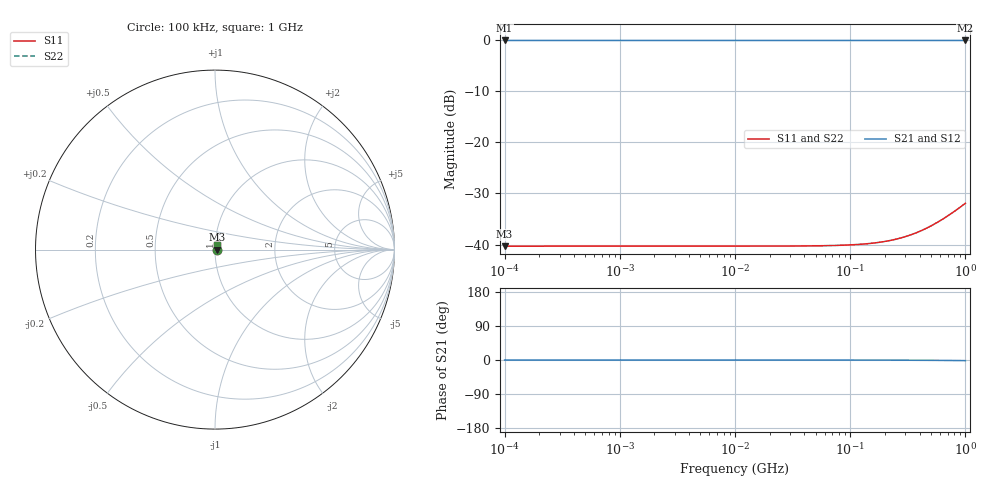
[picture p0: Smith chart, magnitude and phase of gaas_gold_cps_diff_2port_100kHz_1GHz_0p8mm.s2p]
# Hz S RI R 100
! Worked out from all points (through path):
!   10000 points, 100 kHz to 1 GHz, reference 100 ohm
!   highest |S21| = -0.08 dB at 100 kHz (marker M1); lowest = -0.1 dB at 1 GHz (marker M2)
!   lowest |S11| = -40.3 dB at 100 kHz (marker M3), VSWR 1.02, Z = 102 + j0.000473 ohm
!   |S11| at or under -10 dB: start of sweep to end of sweep
!   |S22| runs from -40.3 to -31.9 dB; largest |S21 - S12| = 4.4e-16
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100000  0.00966 2.32e-06  0.9903 -2.85e-06  0.9903 -2.85e-06  0.00966 2.32e-06
464372.7  0.00966 1.08e-05  0.9903 -1.32e-05  0.9903 -1.32e-05  0.00966 1.08e-05
2156420  0.00966 5e-05  0.9903 -6.15e-05  0.9903 -6.15e-05  0.00966 5e-05
1.000461e7  0.00966 0.000232  0.9903 -0.000285  0.9903 -0.000285  0.00966 0.000232
2.586076e7  0.00966 0.000599  0.9903 -0.000738  0.9903 -0.000738  0.00966 0.000599
4.645866e7  0.00966 0.00108  0.9903 -0.00132  0.9903 -0.00132  0.00966 0.00108
7.861213e7  0.00967 0.00182  0.9903 -0.00224  0.9903 -0.00224  0.00967 0.00182
9.707306e7  0.00967 0.00225  0.9903 -0.00277  0.9903 -0.00277  0.00967 0.00225
1.170326e8  0.00967 0.00271  0.9903 -0.00334  0.9903 -0.00334  0.00967 0.00271
1.389038e8  0.00967 0.00322  0.9903 -0.00396  0.9903 -0.00396  0.00967 0.00322
1.624505e8  0.00968 0.00377  0.9903 -0.00463  0.9903 -0.00463  0.00968 0.00377
1.879003e8  0.00969 0.00435  0.9903 -0.00536  0.9903 -0.00536  0.00969 0.00435
2.155427e8  0.00969 0.005  0.9903 -0.00615  0.9903 -0.00615  0.00969 0.005
2.620245e8  0.00971 0.00607  0.9903 -0.00747  0.9903 -0.00747  0.00971 0.00607
3.150285e8  0.00973 0.0073  0.9903 -0.00898  0.9903 -0.00898  0.00973 0.0073
3.76667e8  0.00976 0.00873  0.9902 -0.0107  0.9902 -0.0107  0.00976 0.00873
4.495368e8  0.0098 0.0104  0.9902 -0.0128  0.9902 -0.0128  0.0098 0.0104
5.330558e8  0.00985 0.0124  0.9901 -0.0152  0.9901 -0.0152  0.00985 0.0124
6.355948e8  0.00993 0.0147  0.9901 -0.0181  0.9901 -0.0181  0.00993 0.0147
7.740854e8  0.0101 0.0179  0.9899 -0.0221  0.9899 -0.0221  0.0101 0.0179
9.629381e8  0.0103 0.0223  0.9897 -0.0274  0.9897 -0.0274  0.0103 0.0223
1e9  0.0103 0.0232  0.9897 -0.0285  0.9897 -0.0285  0.0103 0.0232
